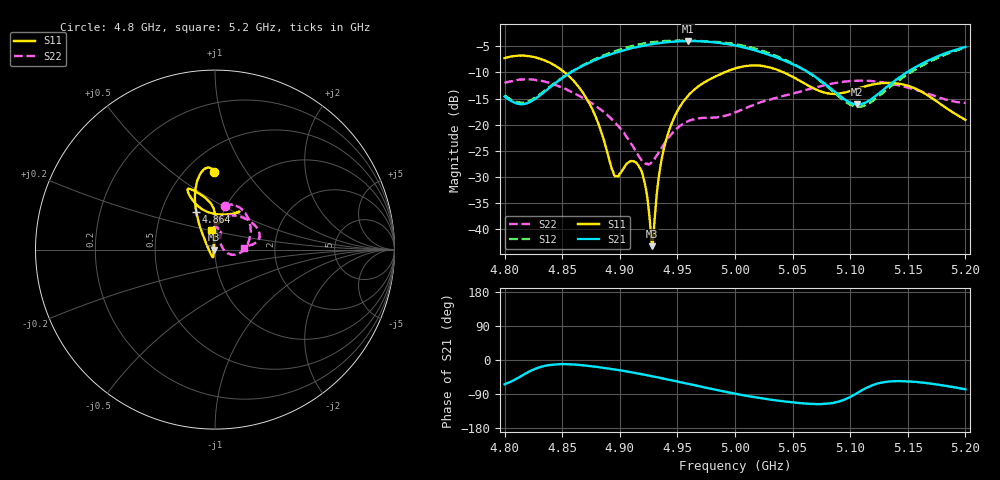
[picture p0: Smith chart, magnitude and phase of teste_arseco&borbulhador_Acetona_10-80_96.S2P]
! Network Analyzer HP8722D
! Hewlett-Packard
! Data name: Linha & Wilkinson
! Saver's name: Rodrigo Anjos
! Comments: Teste da utilização de aquisição
! continua pelo VNA HP8722D
! Time and date: 25/4/2025 16:04
!  Frequency  S11  S21  S12  S22
# HZ  S  MA R 50
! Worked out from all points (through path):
!   401 points, 4.8 GHz to 5.2 GHz, reference 50 ohm
!   highest |S21| = -3.96 dB at 4.959 GHz (marker M1); lowest = -16.1 dB at 5.106 GHz (marker M2)
!   lowest |S11| = -43.3 dB at 4.928 GHz (marker M3), VSWR 1.01, Z = 49.3 - j0.111 ohm
!   |S11| at or under -10 dB: 4.852 GHz to 4.991 GHz (138.5 MHz wide, 2.81 % of centre); 5.042 GHz to end of sweep
!   |S22| runs from -27.7 to -11.3 dB; largest |S21 - S12| = 1.2
!   S11 on the Smith chart (normalised r, x): 4.8 GHz: 0.68, +0.72; 4.864 GHz: 0.75, +0.33; 5.2 GHz: 0.94, +0.21
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4.8e9  0.4338 90.8  0.186 -63.9  0.191 69.5  0.2501 77.3
4.82e9  0.4537 97.0  0.1613 -32.6  0.1666 98.2  0.2715 61.6
4.845e9  0.3609 107.4  0.254 -11.4  0.2578 119.4  0.2387 34.3
4.864e9  0.2323 116.6  0.3489 -12.8  0.3518 121.1  0.1902 12.3
4.867e9  0.2091 118.3  0.3629 -13.7  0.3671 120.8  0.183 8.7
4.88e9  0.1116 128.4  0.4221 -18.3  0.4322 118.3  0.1487 -5.1
4.895e9  0.03294 -175.0  0.4852 -24.7  0.5014 113.9  0.1072 -15.6
4.91e9  0.04478 -106.0  0.5389 -32.4  0.5636 107.1  0.06516 -13.5
4.918e9  0.03759 -103.6  0.5625 -36.9  0.5914 103.1  0.04712 2.1
4.922e9  0.02635 -106.0  0.5748 -39.1  0.6032 100.8  0.04245 15.5
4.928e9  0.00684 -170.5  0.5904 -42.9  0.6161 97.2  0.04419 40.9
4.93e9  0.01147 123.0  0.5956 -44.2  0.6199 95.9  0.04644 48.2
4.934e9  0.0323 99.2  0.6021 -46.7  0.6277 93.4  0.05486 58.0
4.944e9  0.09627 90.3  0.6216 -53.1  0.6359 86.8  0.07948 69.4
4.959e9  0.1878 89.5  0.6336 -62.8  0.6392 77.5  0.1076 71.3
5e9  0.3453 109.2  0.5735 -88.9  0.5925 50.8  0.1311 88.5
5.03e9  0.3541 115.2  0.4647 -104.3  0.4813 33.8  0.173 85.4
5.067e9  0.2268 105.3  0.3016 -116.0  0.2988 23.6  0.2228 57.3
5.106e9  0.2197 64.8  0.1561 -87.2  0.1479 55.8  0.2632 24.9
5.134e9  0.2511 57.3  0.2401 -56.7  0.2259 88.6  0.2481 12.5
5.167e9  0.1912 68.4  0.4071 -61.2  0.3906 85.6  0.1986 7.2
5.2e9  0.1109 100.7  0.5554 -77.5  0.5463 70.2  0.1612 3.8
